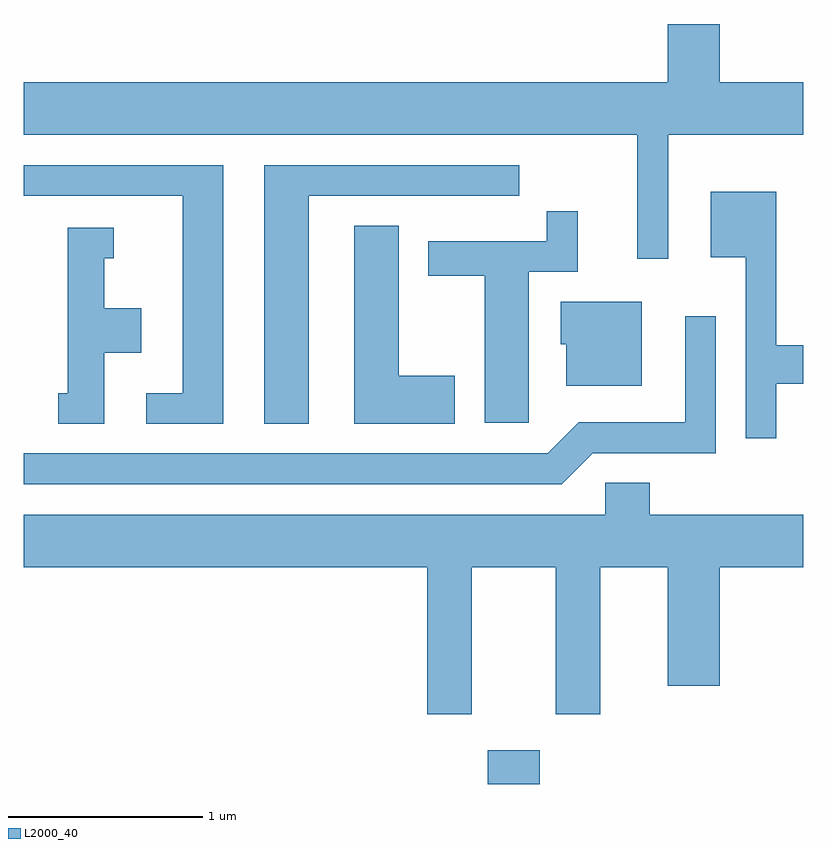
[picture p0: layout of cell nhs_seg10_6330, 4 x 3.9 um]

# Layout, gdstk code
import gdstk
lib = gdstk.Library(unit=1e-6, precision=1e-09)
def R(c, l, rs):  # rectangles x0, y0, x1, y1
    for r in rs: c.add(gdstk.rectangle(r[:2], r[2:], *l))
def P(c, l, *ps):  # polygons
    for p in ps: c.add(gdstk.Polygon(p, *l))
L2000_40 = (2000, 40)

nhs_seg10_6330 = lib.new_cell('nhs_seg10_6330')
R(nhs_seg10_6330, L2000_40, [(373.991,2170.522,374.259,2170.694)])
P(nhs_seg10_6330, L2000_40, [(374.919,2173.856),(375.611,2173.856),(375.611,2174.124),(375.184,2174.124),(375.184,2174.424),(374.916,2174.424),(374.916,2174.124),(371.611,2174.124),(371.611,2173.856),(374.761,2173.856),(374.761,2173.218),(374.919,2173.218)],
  [(373.074,2173.541),(374.153,2173.541),(374.153,2173.699),(372.846,2173.699),(372.846,2172.371),(373.074,2172.371)],
  [(372.634,2173.699),(371.611,2173.699),(371.611,2173.541),(372.426,2173.541),(372.426,2172.529),(372.238,2172.529),(372.238,2172.371),(372.634,2172.371)],
  [(375.474,2172.576),(375.611,2172.576),(375.611,2172.774),(375.474,2172.774),(375.474,2173.564),(375.136,2173.564),(375.136,2173.226),(375.316,2173.226),(375.316,2172.298),(375.474,2172.298)],
  [(374.204,2173.151),(374.454,2173.151),(374.454,2173.463),(374.296,2173.463),(374.296,2173.309),(373.686,2173.309),(373.686,2173.131),(373.976,2173.131),(373.976,2172.376),(374.204,2172.376)],
  [(373.824,2172.619),(373.534,2172.619),(373.534,2173.389),(373.306,2173.389),(373.306,2172.371),(373.824,2172.371)],
  [(372.024,2172.736),(372.214,2172.736),(372.214,2172.964),(372.024,2172.964),(372.024,2173.221),(372.073,2173.221),(372.073,2173.379),(371.836,2173.379),(371.836,2172.529),(371.788,2172.529),(371.788,2172.371),(372.024,2172.371)],
  [(374.784,2172.999),(374.366,2172.999),(374.366,2172.781),(374.396,2172.781),(374.396,2172.566),(374.784,2172.566)],
  [(374.532,2172.221),(375.164,2172.221),(375.164,2172.923),(375.006,2172.923),(375.006,2172.379),(374.459,2172.379),(374.299,2172.219),(371.611,2172.219),(371.611,2172.061),(374.372,2172.061)],
  [(373.909,2171.636),(374.341,2171.636),(374.341,2170.881),(374.569,2170.881),(374.569,2171.636),(374.916,2171.636),(374.916,2171.026),(375.184,2171.026),(375.184,2171.636),(375.611,2171.636),(375.611,2171.904),(374.824,2171.904),(374.824,2172.069),(374.596,2172.069),(374.596,2171.904),(371.611,2171.904),(371.611,2171.636),(373.681,2171.636),(373.681,2170.881),(373.909,2170.881)])

lib.write_gds('nhs_seg10_6330.gds')
